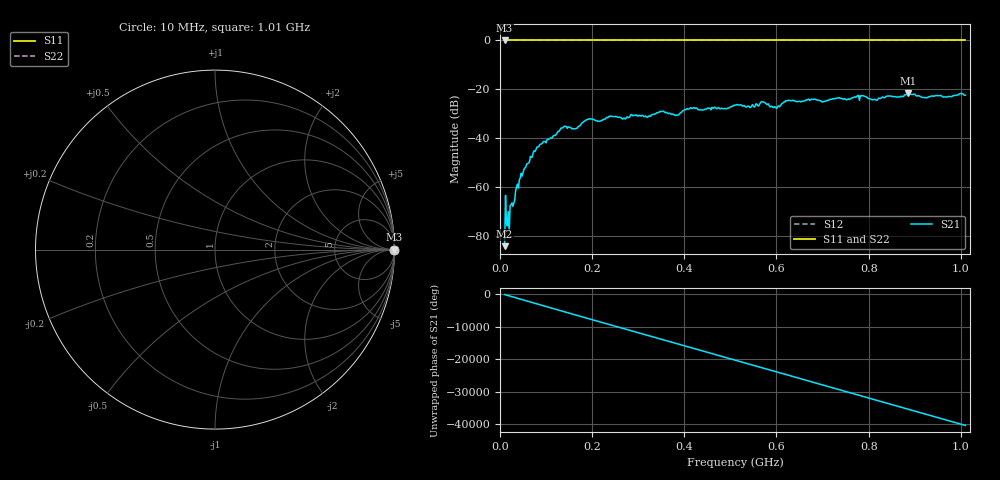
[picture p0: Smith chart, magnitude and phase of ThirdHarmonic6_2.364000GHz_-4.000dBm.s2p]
! 8/17/2025 3:39:00 AM
! C:\ANRITSUVNA\TEMP\TEMP.S2P
! CHANNEL.1
! TR.MEASUREMENT
! RAW.DATA
! RF.CORRECTION.OFF
! AVERAGING.OFF
! IF.BANDWIDTH: 5KHZ
! SWEEPTYPE:  FREQ.SWEEP(Linear)
! Reference Plane Port Info
! PORT:  PORT1  PORT2
! DISTANCE:  0  m  0  m
! TIME:  0  s  0  s
! PHASE.OFFSET:  0  deg.  0  deg.
! LOSS:  0  dB  0  dB
! REF.LOSS:  0  dB  0  dB
! REF.FREQ:  0  Hz  0  Hz
! Power Info
! POWER:  -20  dBm  -20  dBm
! EFF.POWER:  -20  dBm  -20  dBm
! SOURCE.ATTEN:  0  dB  0  dB
! TEST.ATTEN:  0  dB  0  dB
# GHZ S RI R 50.0
! FREQ.GHZ  S11RE  S11IM  S21RE  S21IM  S12RE  S12IM  S22RE  S22IM
!; PortSelection: Port_12
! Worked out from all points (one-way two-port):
!   501 points, 10 MHz to 1.01 GHz, reference 50 ohm
!   highest |S21| = -21.60 dB at 886 MHz (marker M1); lowest = -84.0 dB at 10 MHz (marker M2)
!   lowest |S11| = 0.0 dB at 10 MHz (marker M3)
!   |S11| at or under -10 dB: nowhere
!   |S22| runs from 0.0 to 0.0 dB; largest |S21 - S12| = 1.1
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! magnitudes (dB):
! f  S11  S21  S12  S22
! 10 MHz  0.0  -84.0  0.0  0.0
! 14 MHz  0.0  -74.7  0.0  0.0
! 18 MHz  0.0  -69.9  0.0  0.0
! 46 MHz  0.0  -54.2  0.0  0.0
! 76 MHz  0.0  -45.3  0.0  0.0
! 136 MHz  0.0  -35.7  0.0  0.0
! 164 MHz  0.0  -36.0  0.0  0.0
! 178 MHz  0.0  -33.7  0.0  0.0
! 194 MHz  0.0  -32.0  0.0  0.0
! 322 MHz  0.0  -31.0  0.0  0.0
! 344 MHz  0.0  -29.4  0.0  0.0
! 384 MHz  0.0  -30.6  0.0  0.0
! 416 MHz  0.0  -27.7  0.0  0.0
! 510 MHz  0.0  -26.4  0.0  0.0
! 570 MHz  0.0  -25.0  0.0  0.0
! 598 MHz  0.0  -27.3  0.0  0.0
! 624 MHz  0.0  -24.6  0.0  0.0
! 678 MHz  0.0  -24.0  0.0  0.0
! 844 MHz  0.0  -22.7  0.0  0.0
! 886 MHz  0.0  -21.6  0.0  0.0
! 922 MHz  0.0  -23.3  0.0  0.0
! 1.01 GHz  0.0  -22.3  0.0  0.0
